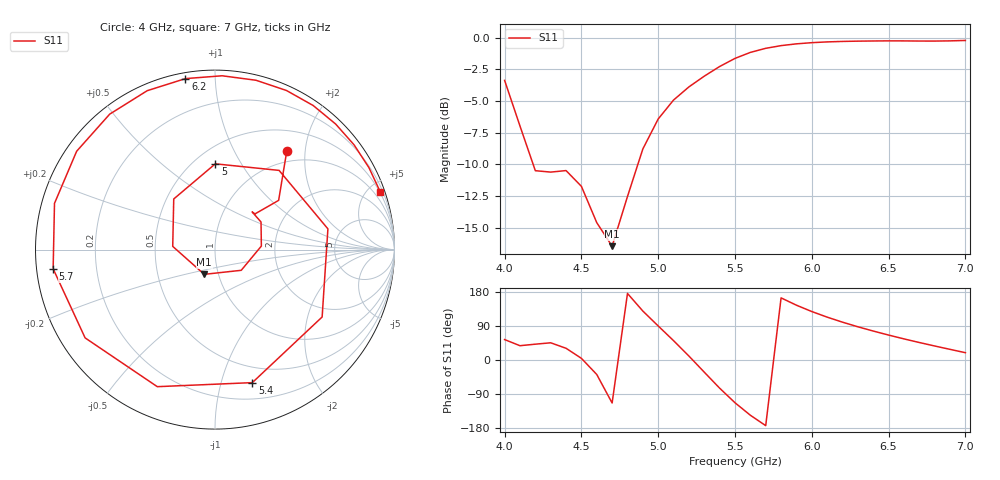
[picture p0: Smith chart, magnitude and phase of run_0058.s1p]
! Touchstone file exported from HFSS 2024.2.0
!  File:  C:/Users/wsak9/Desktop/Sim Fast/Widenad Patch/WP_AI_V1_sweep.aedt
!  Generated:  05:20:53 PM Oct 13, 2026
!  Design:  A1_model
!  Project:  WP_AI_V1_sweep
!  Setup:  Setup1
!  Solution:  Sweep
! Variables:
!  Air_gap = 3.15mm
!  Curve_Amp1 = 0.97
!  Curve_len1 = 1
!  Curve_pos = 12.635mm
!  Extra = 5.81mm
!  H_sub = 0.79mm
!  L_Patch = 21.27mm
!  L_Patch1 = 17.41mm
!  Sx = 1.19mm
!  Sy = 0.25mm
!  WS = 0.33mm
!  W_Patch = 12.17mm
!  W_Patch1 = 11.6mm
!Data is not renormalized
# GHz S MA
! Terminal data exported
! Port[1] = 1
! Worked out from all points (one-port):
!   31 points, 4 GHz to 7 GHz, reference per port
!   lowest |S11| = -16.5 dB at 4.7 GHz (marker M1), VSWR 1.35
!   |S11| at or under -10 dB: 4.186 GHz to 4.868 GHz (681.6 MHz wide, 15.1 % of centre)
!   S11 on the Smith chart (normalised r, x): 4 GHz: 0.82, +1.66; 5 GHz: 0.63, +0.78; 5.4 GHz: 0.35, -1.26; 5.7 GHz: 0.05, -0.06; 6.2 GHz: 0.03, +0.84; 7 GHz: 0.44, +5.86
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4  0.6784 53.9
4.1  0.4484 37.7
4.2  0.2986 41.8
4.3  0.2948 45.4
4.4  0.299 30.9
4.5  0.2591 4.4
4.6  0.1862 -38.3
4.7  0.1504 -113.5
4.8  0.2362 175.6
4.9  0.3639 129.2
5  0.4779 89.8
5.1  0.5676 51.0
5.2  0.6396 10.4
5.3  0.7051 -32.2
5.4  0.7697 -74.3
5.5  0.8286 -112.8
5.6  0.875 -145.8
5.7  0.9081 -173.2
5.8  0.9306 163.9
5.9  0.9457 144.6
6  0.9559 127.9
6.1  0.9626 113.1
6.2  0.9668 99.8
6.3  0.9692 87.7
6.5  0.9718 65.8
6.7  0.9702 46.1
6.8  0.97 37.0
7  0.9753 19.3
